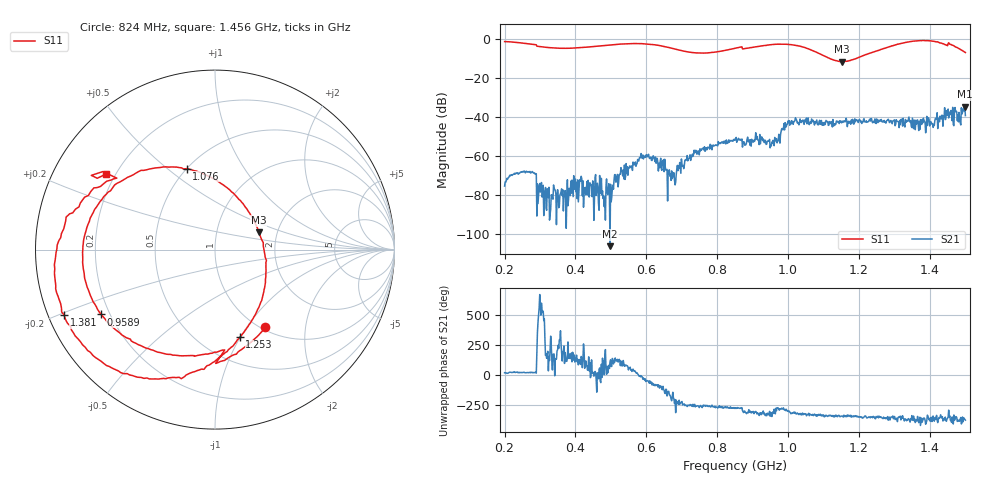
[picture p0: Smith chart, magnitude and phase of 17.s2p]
! NanoVNA-App
! Date: 2024-06-25 16:50:30
! Start: 200MHz Stop: 1.5GHz Points: 801
! S-Parameter data: F S11 S21 S12 S22
# Hz S RI R 50
!  Frequency  S11_Real  S11_Imag  S21_Real  S21_Imag  S12_Real  S12_Imag  S22_Real  S22_Imag
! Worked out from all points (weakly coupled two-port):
!   801 points, 200 MHz to 1.5 GHz, reference 50 ohm
!   highest |S21| = -34.69 dB at 1.498 GHz (marker M1); lowest = -106.2 dB at 497.4 MHz (marker M2)
!   lowest |S11| = -11.6 dB at 1.152 GHz (marker M3), VSWR 1.71, Z = 80.3 + j16.6 ohm
!   |S11| at or under -10 dB: 1.118 GHz to 1.191 GHz (72.93 MHz wide, 6.32 % of centre)
!   S12 and S22 are empty: the file has one direction only
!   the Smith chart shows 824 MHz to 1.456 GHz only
!   S11 on the Smith chart (normalised r, x): 824 MHz: 1.04, -1.23; 958.9 MHz: 0.17, -0.26; 1.076 GHz: 0.50, +0.58; 1.253 GHz: 0.76, -1.00; 1.381 GHz: 0.05, -0.21; 1.456 GHz: 0.17, +0.31
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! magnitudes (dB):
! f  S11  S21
! 200 MHz  -1.3  -75.4
! 256.9 MHz  -2.2  -67.8
! 312.1 MHz  -4.1  -78.1
! 417.8 MHz  -4.3  -71.7
! 497.4 MHz  -3.0  -106.2
! 583.5 MHz  -2.3  -60.3
! 633.9 MHz  -3.2  -67.7
! 676.1 MHz  -4.9  -70.5
! 734.6 MHz  -7.0  -57.0
! 824 MHz  -5.7  -53.8
! 850 MHz  -4.7  -51.2
! 958.9 MHz  -2.7  -53.6
! 1.003 GHz  -2.7  -41.8
! 1.068 GHz  -5.8  -42.4
! 1.076 GHz  -6.4  -42.4
! 1.152 GHz  -11.6  -42.0
! 1.253 GHz  -5.9  -42.8
! 1.284 GHz  -4.0  -41.6
! 1.381 GHz  -0.8  -40.6
! 1.456 GHz  -2.6  -38.7
! 1.498 GHz  -6.7  -34.7
! 1.5 GHz  -6.9  -39.2
